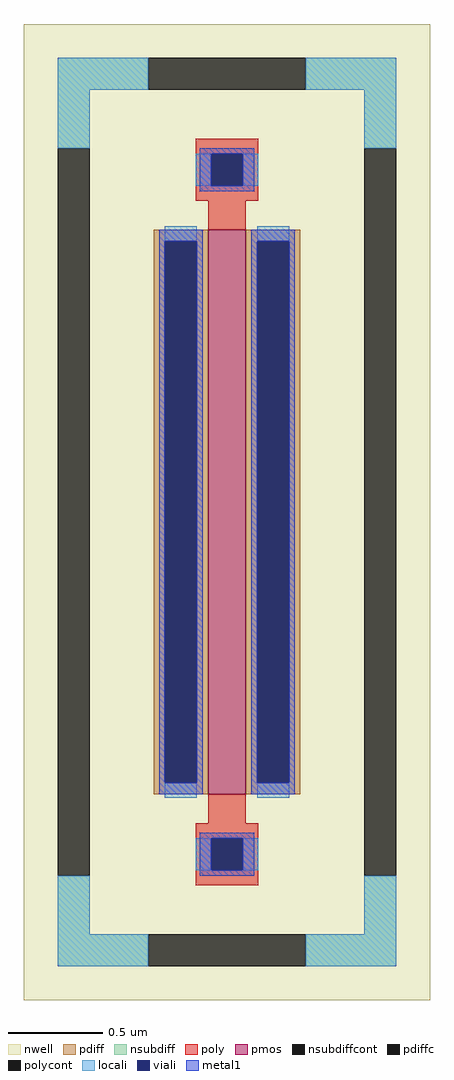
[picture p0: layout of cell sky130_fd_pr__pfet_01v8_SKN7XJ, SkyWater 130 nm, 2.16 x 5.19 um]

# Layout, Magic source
magic
tech sky130A
magscale 1 2
<< nwell >>
rect -216 -519 216 519
<< pmos >>
rect -20 -300 20 300
<< pdiff >>
rect -78 288 -20 300
rect -78 -288 -66 288
rect -32 -288 -20 288
rect -78 -300 -20 -288
rect 20 288 78 300
rect 20 -288 32 288
rect 66 -288 78 288
rect 20 -300 78 -288
<< pdiffc >>
rect -66 -288 -32 288
rect 32 -288 66 288
<< nsubdiff >>
rect -180 449 -84 483
rect 84 449 180 483
rect -180 387 -146 449
rect 146 387 180 449
rect -180 -449 -146 -387
rect 146 -449 180 -387
rect -180 -483 -84 -449
rect 84 -483 180 -449
<< nsubdiffcont >>
rect -84 449 84 483
rect -180 -387 -146 387
rect 146 -387 180 387
rect -84 -483 84 -449
<< poly >>
rect -33 381 33 397
rect -33 347 -17 381
rect 17 347 33 381
rect -33 331 33 347
rect -20 300 20 331
rect -20 -331 20 -300
rect -33 -347 33 -331
rect -33 -381 -17 -347
rect 17 -381 33 -347
rect -33 -397 33 -381
<< polycont >>
rect -17 347 17 381
rect -17 -381 17 -347
<< locali >>
rect -180 449 -84 483
rect 84 449 180 483
rect -180 387 -146 449
rect 146 387 180 449
rect -33 347 -17 381
rect 17 347 33 381
rect -66 288 -32 304
rect -66 -304 -32 -288
rect 32 288 66 304
rect 32 -304 66 -288
rect -33 -381 -17 -347
rect 17 -381 33 -347
rect -180 -449 -146 -387
rect 146 -449 180 -387
rect -180 -483 -84 -449
rect 84 -483 180 -449
<< viali >>
rect -17 347 17 381
rect -66 -288 -32 288
rect 32 -288 66 288
rect -17 -381 17 -347
<< metal1 >>
rect -29 381 29 387
rect -29 347 -17 381
rect 17 347 29 381
rect -29 341 29 347
rect -72 288 -26 300
rect -72 -288 -66 288
rect -32 -288 -26 288
rect -72 -300 -26 -288
rect 26 288 72 300
rect 26 -288 32 288
rect 66 -288 72 288
rect 26 -300 72 -288
rect -29 -347 29 -341
rect -29 -381 -17 -347
rect 17 -381 29 -347
rect -29 -387 29 -381
<< properties >>
string FIXED_BBOX -163 -466 163 466
string gencell sky130_fd_pr__pfet_01v8
string library sky130
string parameters w 3.0 l 0.2 m 1 nf 1 diffcov 100 polycov 100 guard 1 glc 1 grc 1 gtc 1 gbc 1 tbcov 100 rlcov 100 topc 1 botc 1 poverlap 0 doverlap 1 lmin 0.15 wmin 0.42 compatible {sky130_fd_pr__pfet_01v8  sky130_fd_pr__pfet_01v8_lvt sky130_fd_pr__pfet_01v8_hvt  sky130_fd_pr__pfet_g5v0d10v5} full_metal 1 viasrc 100 viadrn 100 viagate 100 viagb 0 viagr 0 viagl 0 viagt 0
<< end >>
